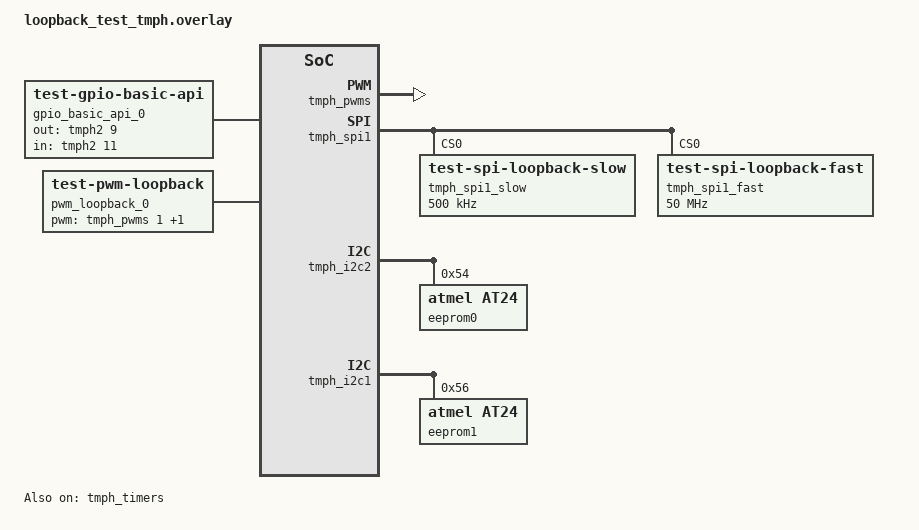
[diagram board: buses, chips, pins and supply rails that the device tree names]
/*
 * Copyright (c) 2021-2025 TiaC Systems
 * Copyright (c) 2021 Li-Pro.Net
 * SPDX-License-Identifier: Apache-2.0
 */

#include <freq.h>

/ {
	gpio_basic_api_0 {
		compatible = "test-gpio-basic-api";
		out-gpios = <&tmph2 9 0>;	/* TMPH2:10 */
		in-gpios = <&tmph2 11 0>;	/* TMPH2:12 */
	}; // gpio_basic_api_0

	pwm_loopback_0 {
		compatible = "test-pwm-loopback";
		/* channel 1 pwm out to channel 4 capture in */
		pwms = <&tmph_pwms 1 0 0>,	/* TMPH4:5 */
		       <&tmph_pwms 4 0 0>;	/* TMPH1:3 */
	}; // pwm_loopback_0
};

&tmph_timers {
	status = "okay";
	st,prescaler = <10000>;
}; // tmph_timers

&tmph_pwms {
	status = "okay";
}; // tmph_pwms

&tmph_spi1 {
	status = "okay";

	tmph_spi1_slow: slow@0 {
		compatible = "test-spi-loopback-slow";
		reg = <0>;
		spi-max-frequency = <DT_FREQ_K(500)>;
	};

	tmph_spi1_fast: fast@0 {
		compatible = "test-spi-loopback-fast";
		reg = <0>;
		spi-max-frequency = <DT_FREQ_M(50)>;
	};
}; // tmph_spi1

&tmph_i2c2 {
	status = "okay";

	eeprom0: eeprom@54 {
		compatible = "atmel,at24";
		reg = <0x54>;
		size = <1024>;
		pagesize = <16>;
		address-width = <8>;
		timeout = <5>;
		status = "okay";
	}; // eeprom0
}; // tmph_i2c2

&tmph_i2c1 {
	status = "okay";

	eeprom1: eeprom@56 {
		compatible = "atmel,at24";
		reg = <0x56>;
		size = <1024>;
		pagesize = <16>;
		address-width = <8>;
		timeout = <5>;
		status = "okay";
	}; // eeprom1
}; // tmph_i2c1
